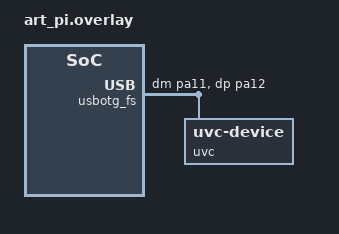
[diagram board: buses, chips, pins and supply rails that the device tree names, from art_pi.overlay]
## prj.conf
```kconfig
CONFIG_LOG=y
CONFIG_POLL=y
CONFIG_SAMPLE_USBD_PID=0x0011
CONFIG_SAMPLE_USBD_PRODUCT="UVC sample"
CONFIG_UDC_BUF_POOL_SIZE=2048
CONFIG_UDC_DRIVER_LOG_LEVEL_WRN=y
CONFIG_USBD_LOG_LEVEL_WRN=y
CONFIG_USBD_VIDEO_CLASS=y
CONFIG_USBD_VIDEO_LOG_LEVEL_WRN=y
CONFIG_USB_DEVICE_STACK_NEXT=y
CONFIG_CDC_ACM_SERIAL_INITIALIZE_AT_BOOT=n
CONFIG_VIDEO=y
CONFIG_VIDEO_BUFFER_POOL_NUM_MAX=2
CONFIG_VIDEO_BUFFER_POOL_SZ_MAX=24576
CONFIG_VIDEO_LOG_LEVEL_WRN=y

# Enough two 320x240 YUYV frames
CONFIG_VIDEO_BUFFER_POOL_SZ_MAX=163840
```

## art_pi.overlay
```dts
/*
 * Copyright (c) 2025 STMicroelectronics
 *
 * SPDX-License-Identifier: Apache-2.0
 */

/*
 * Define the device, controller and partition to be the external memory
 * for running the application in external NOR from MCUboot
 */


/ {
	chosen {
		zephyr,flash = &w25q64_qspi;
		zephyr,flash-controller = &w25q64_qspi;
		zephyr,code-partition = &slot0_partition;
        zephyr,udc = &usbotg_fs;
	};
};



zephyr_udc0: &usbotg_fs {
	pinctrl-0 = <&usb_otg_fs_dm_pa11 &usb_otg_fs_dp_pa12>;
	pinctrl-names = "default";

	clocks = <&rcc STM32_CLOCK_BUS_AHB1 0x08000000>,
		 <&rcc STM32_SRC_HSI48 USB_SEL(3)>;

	maximum-speed = "full-speed";
	ram-size = <1280>;
	num-bidir-endpoints = <8>;

	status = "okay";

	cdc_acm_uart0: cdc_acm_uart0 {
		compatible = "zephyr,cdc-acm-uart";
		label = "CDC_ACM_0";
        status = "disabled";
	};

	uvc: uvc {
		compatible = "zephyr,uvc-device";
	};

	
};
```

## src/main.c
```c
/*
 * Copyright (c) 2025 tinyVision.ai Inc.
 *
 * SPDX-License-Identifier: Apache-2.0
 */

#include <stdint.h>
#include <stdlib.h>

#include <sample_usbd.h>

#include <zephyr/device.h>
#include <zephyr/usb/usbd.h>
#include <zephyr/drivers/video.h>
#include <zephyr/logging/log.h>
#include <zephyr/usb/class/usbd_uvc.h>


LOG_MODULE_REGISTER(uvc_sample, LOG_LEVEL_INF);

const struct device *const uvc_dev = DEVICE_DT_GET(DT_NODELABEL(uvc));
const struct device *const video_dev = DEVICE_DT_GET(DT_CHOSEN(zephyr_camera));

int main(void)
{
	struct usbd_context *sample_usbd;
	struct video_buffer *vbuf;
	struct video_format fmt = {0};
	struct video_caps caps;
	struct k_poll_signal sig;
	struct k_poll_event evt[1];
	k_timeout_t timeout = K_FOREVER;
	size_t bsize;
	int ret;

	if (!device_is_ready(video_dev)) {
		LOG_ERR("video source %s failed to initialize", video_dev->name);
		return -ENODEV;
	}

	caps.type = VIDEO_BUF_TYPE_OUTPUT;

	if (video_get_caps(video_dev, &caps)) {
		LOG_ERR("Unable to retrieve video capabilities");
		return 0;
	}

	/* Must be done before initializing USB */
	uvc_set_video_dev(uvc_dev, video_dev);

	sample_usbd = sample_usbd_init_device(NULL);
	if (sample_usbd == NULL) {
		return -ENODEV;
	}

	ret = usbd_enable(sample_usbd);
	if (ret != 0) {
		return ret;
	}

	LOG_INF("Waiting the host to select the video format");

	/* Get the video format once it is selected by the host */
	while (true) {
		fmt.type = VIDEO_BUF_TYPE_INPUT;

		ret = video_get_format(uvc_dev, &fmt);
		if (ret == 0) {
			break;
		}
		if (ret != -EAGAIN) {
			LOG_ERR("Failed to get the video format");
			return ret;
		}

		k_sleep(K_MSEC(10));
	}

	LOG_INF("The host selected format '%s' %ux%u, preparing %u buffers of %u bytes",
		VIDEO_FOURCC_TO_STR(fmt.pixelformat), fmt.width, fmt.height,
		CONFIG_VIDEO_BUFFER_POOL_NUM_MAX, fmt.pitch * fmt.height);

	/* Size to allocate for each buffer */
	if (caps.min_line_count == LINE_COUNT_HEIGHT) {
		bsize = fmt.pitch * fmt.height;
	} else {
		bsize = fmt.pitch * caps.min_line_count;
	}

	for (int i = 0; i < CONFIG_VIDEO_BUFFER_POOL_NUM_MAX; i++) {
		vbuf = video_buffer_alloc(bsize, K_NO_WAIT);
		if (vbuf == NULL) {
			LOG_ERR("Could not allocate the video buffer");
			return -ENOMEM;
		}

		vbuf->type = VIDEO_BUF_TYPE_OUTPUT;

		ret = video_enqueue(video_dev, vbuf);
		if (ret != 0) {
			LOG_ERR("Could not enqueue video buffer");
			return ret;
		}
	}

	LOG_DBG("Preparing signaling for %s input/output", video_dev->name);

	k_poll_signal_init(&sig);
	k_poll_event_init(&evt[0], K_POLL_TYPE_SIGNAL, K_POLL_MODE_NOTIFY_ONLY, &sig);

	ret = video_set_signal(video_dev, &sig);
	if (ret != 0) {
		LOG_WRN("Failed to setup the signal on %s output endpoint", video_dev->name);
		timeout = K_MSEC(1);
	}

	ret = video_set_signal(uvc_dev, &sig);
	if (ret != 0) {
		LOG_ERR("Failed to setup the signal on %s input endpoint", uvc_dev->name);
		return ret;
	}

	LOG_INF("Starting the video transfer");

	ret = video_stream_start(video_dev, VIDEO_BUF_TYPE_OUTPUT);
	if (ret != 0) {
		LOG_ERR("Failed to start %s", video_dev->name);
		return ret;
	}

	while (true) {
		ret = k_poll(evt, ARRAY_SIZE(evt), timeout);
		if (ret != 0 && ret != -EAGAIN) {
			LOG_ERR("Poll exited with status %d", ret);
			return ret;
		}

		vbuf = &(struct video_buffer){.type = VIDEO_BUF_TYPE_OUTPUT};

		if (video_dequeue(video_dev, &vbuf, K_NO_WAIT) == 0) {
			LOG_DBG("Dequeued %p from %s, enqueueing to %s",
				(void *)vbuf, video_dev->name, uvc_dev->name);

			vbuf->type = VIDEO_BUF_TYPE_INPUT;

			ret = video_enqueue(uvc_dev, vbuf);
			if (ret != 0) {
				LOG_ERR("Could not enqueue video buffer to %s", uvc_dev->name);
				return ret;
			}
		}

		vbuf = &(struct video_buffer){.type = VIDEO_BUF_TYPE_INPUT};

		if (video_dequeue(uvc_dev, &vbuf, K_NO_WAIT) == 0) {
			LOG_DBG("Dequeued %p from %s, enqueueing to %s",
				(void *)vbuf, uvc_dev->name, video_dev->name);

			vbuf->type = VIDEO_BUF_TYPE_OUTPUT;

			ret = video_enqueue(video_dev, vbuf);
			if (ret != 0) {
				LOG_ERR("Could not enqueue video buffer to %s", video_dev->name);
				return ret;
			}
		}

		k_poll_signal_reset(&sig);
	}

	return 0;
}
```
